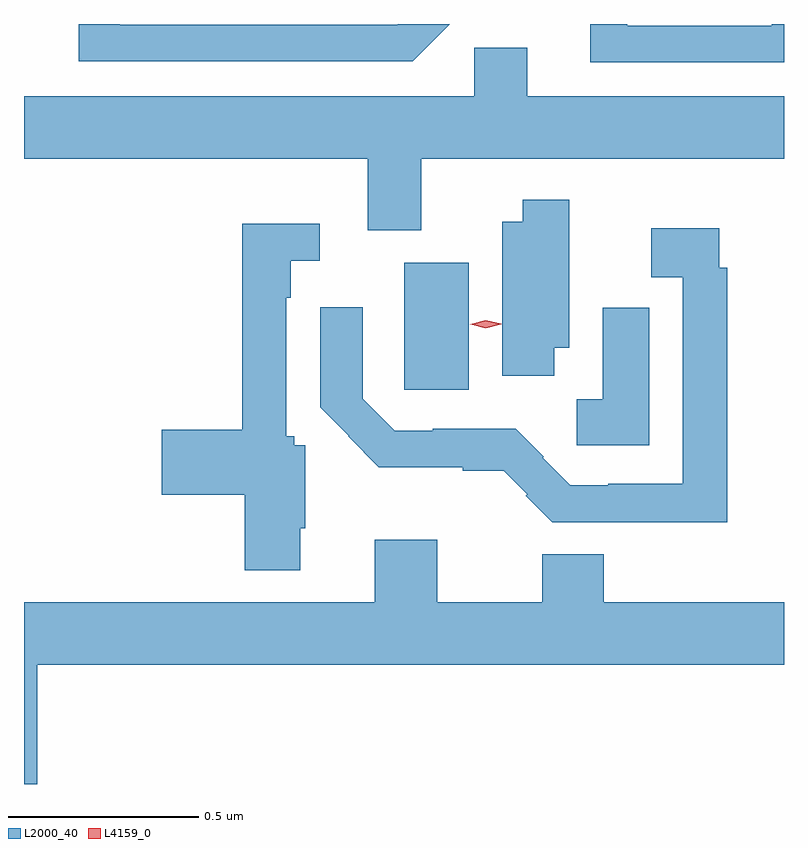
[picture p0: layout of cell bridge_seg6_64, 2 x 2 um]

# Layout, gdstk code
import gdstk
lib = gdstk.Library(unit=1e-6, precision=1e-09)
def R(c, l, rs):  # rectangles x0, y0, x1, y1
    for r in rs: c.add(gdstk.rectangle(r[:2], r[2:], *l))
def P(c, l, *ps):  # polygons
    for p in ps: c.add(gdstk.Polygon(p, *l))
L2000_40 = (2000, 40)
L4159_0 = (4159, 0)

bridge_seg6_64 = lib.new_cell('bridge_seg6_64')
R(bridge_seg6_64, L2000_40, [(782.486,973.368,782.656,973.702)])
P(bridge_seg6_64, L2000_40, [(782.606,974.33),(782.468,974.33),(782.466,974.328),(781.737,974.328),(781.737,974.33),(781.629,974.33),(781.629,974.232),(782.508,974.232)],
  [(783.485,974.33),(783.453,974.33),(783.453,974.325),(783.072,974.325),(783.072,974.33),(782.975,974.33),(782.975,974.229),(783.485,974.229)],
  [(782.53,973.976),(783.485,973.976),(783.485,974.14),(782.809,974.14),(782.809,974.267),(782.67,974.267),(782.67,974.14),(781.485,974.14),(781.485,973.976),(782.39,973.976),(782.39,973.787),(782.53,973.787)],
  [(782.881,973.478),(782.92,973.478),(782.92,973.867),(782.798,973.867),(782.798,973.81),(782.744,973.81),(782.744,973.404),(782.881,973.404)],
  [(782.212,973.003),(782.225,973.003),(782.225,973.221),(782.196,973.221),(782.196,973.245),(782.175,973.245),(782.175,973.61),(782.187,973.61),(782.187,973.707),(782.263,973.707),(782.263,973.804),(782.059,973.804),(782.059,973.262),(781.848,973.262),(781.848,973.091),(782.066,973.091),(782.066,972.893),(782.212,972.893)],
  [(783.335,973.688),(783.315,973.688),(783.315,973.792),(783.136,973.792),(783.136,973.664),(783.219,973.664),(783.219,973.12),(783.022,973.12),(783.022,973.116),(782.922,973.116),(782.85,973.188),(782.853,973.191),(782.779,973.265),(782.56,973.265),(782.56,973.26),(782.46,973.26),(782.376,973.344),(782.376,973.585),(782.264,973.585),(782.264,973.321),(782.339,973.246),(782.338,973.245),(782.419,973.163),(782.639,973.163),(782.639,973.155),(782.747,973.155),(782.809,973.093),(782.805,973.089),(782.875,973.019),(783.335,973.019)],
  [(783.13,973.583),(783.008,973.583),(783.008,973.342),(782.94,973.342),(782.94,973.222),(783.13,973.222)],
  [(781.52,972.644),(783.485,972.644),(783.485,972.808),(783.01,972.808),(783.01,972.934),(782.849,972.934),(782.849,972.808),(782.572,972.808),(782.572,972.973),(782.408,972.973),(782.408,972.808),(781.485,972.808),(781.485,972.33),(781.52,972.33)])
P(bridge_seg6_64, L4159_0, [(782.7,973.53),(782.659,973.54),(782.659,973.54),(782.659,973.54),(782.7,973.55),(782.741,973.541),(782.741,973.541),(782.741,973.54)])

lib.write_gds('bridge_seg6_64.gds')
